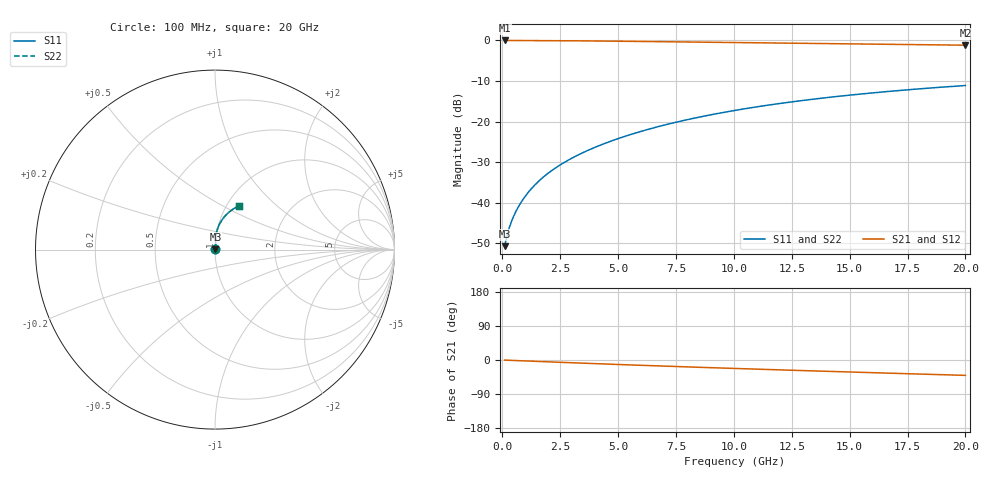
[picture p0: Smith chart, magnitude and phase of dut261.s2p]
! Touchstone file exported from HFSS 2024.1.0
!  File:  C:/UserFiles/LocalFiles/RDL_TSV_Batchsim/temp_RDL_bottom_261_1778702120.aedt
!  Generated:  03:57:53 AM May 14, 2026
!  Design:  RDL_bottom
!  Project:  temp_RDL_bottom_261_1778702120
!  Setup:  Setup1
!  Solution:  Sweep
! Variables:
!  dtsv = 10.80580581um
!  hbump = 3um
!  htsv = 66.86um
!  ldown = 665.08um
!  lrdl = 100um
!  p = 40
!  p1 = 40.2um
!  rhole = 1um
!  t = 450um
!  tdown = 4.22um
!  trdl = 3.915915916um
!  wdown = 24.14um
!  wrdl = 20um
# GHz S MA R 50.000000
! Terminal data exported
! Port[1] = RDL1_T1
! Port[2] = RDL1_T2
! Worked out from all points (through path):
!   200 points, 100 MHz to 20 GHz, reference 50 ohm
!   highest |S21| = -0.02 dB at 100 MHz (marker M1); lowest = -1.2 dB at 20 GHz (marker M2)
!   group delay of S21, straight-line fit = 5.57 ps
!   lowest |S11| = -50.7 dB at 100 MHz (marker M3), VSWR 1.01, Z = 50.3 + j0.144 ohm
!   |S11| at or under -10 dB: start of sweep to end of sweep
!   |S22| runs from -50.7 to -11.1 dB; largest |S21 - S12| = 3.4e-15
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0.1  0.002917 29.4  0.9974 -0.3  0.9974 -0.3  0.002917 29.4
! Gamma 0 0 0 0
! Port Impedance 50 0 50 0
0.2  0.003877 45.0  0.9972 -0.5  0.9972 -0.5  0.003877 45.0
0.3  0.004906 53.2  0.997 -0.8  0.997 -0.8  0.004905 53.2
0.4  0.005917 58.6  0.9967 -1.0  0.9967 -1.0  0.005917 58.6
0.5  0.006921 62.6  0.9966 -1.3  0.9966 -1.3  0.006921 62.6
0.6  0.007931 65.8  0.9964 -1.5  0.9964 -1.5  0.007931 65.8
0.8  0.009992 70.7  0.996 -2.0  0.996 -2.0  0.009992 70.7
1  0.01211 74.1  0.9956 -2.5  0.9956 -2.5  0.01211 74.1
1.2  0.01428 76.6  0.9952 -3.0  0.9952 -3.0  0.01428 76.6
1.7  0.01987 80.8  0.9938 -4.2  0.9938 -4.2  0.01987 80.8
2.2  0.02566 83.2  0.992 -5.4  0.992 -5.4  0.02566 83.2
2.8  0.03287 85.0  0.9894 -6.8  0.9894 -6.8  0.03287 85.0
3.5  0.04162 86.2  0.9858 -8.5  0.9858 -8.5  0.04162 86.1
4.2  0.05075 86.7  0.9816 -10.1  0.9816 -10.1  0.05074 86.7
5  0.06162 86.9  0.9764 -11.9  0.9764 -11.9  0.06161 86.8
6.8  0.08756 85.7  0.9637 -15.8  0.9637 -15.8  0.08752 85.6
8.4  0.1118 83.6  0.952 -19.1  0.952 -19.1  0.1117 83.5
10.1  0.138 80.7  0.9396 -22.4  0.9396 -22.4  0.1379 80.6
11.7  0.1626 77.7  0.9281 -25.5  0.9281 -25.5  0.1625 77.6
13.4  0.1882 74.3  0.9162 -28.7  0.9162 -28.7  0.1881 74.2
16.7  0.2353 67.7  0.8937 -34.8  0.8937 -34.8  0.2351 67.6
20  0.2779 61.2  0.872 -40.6  0.872 -40.6  0.2776 61.2
